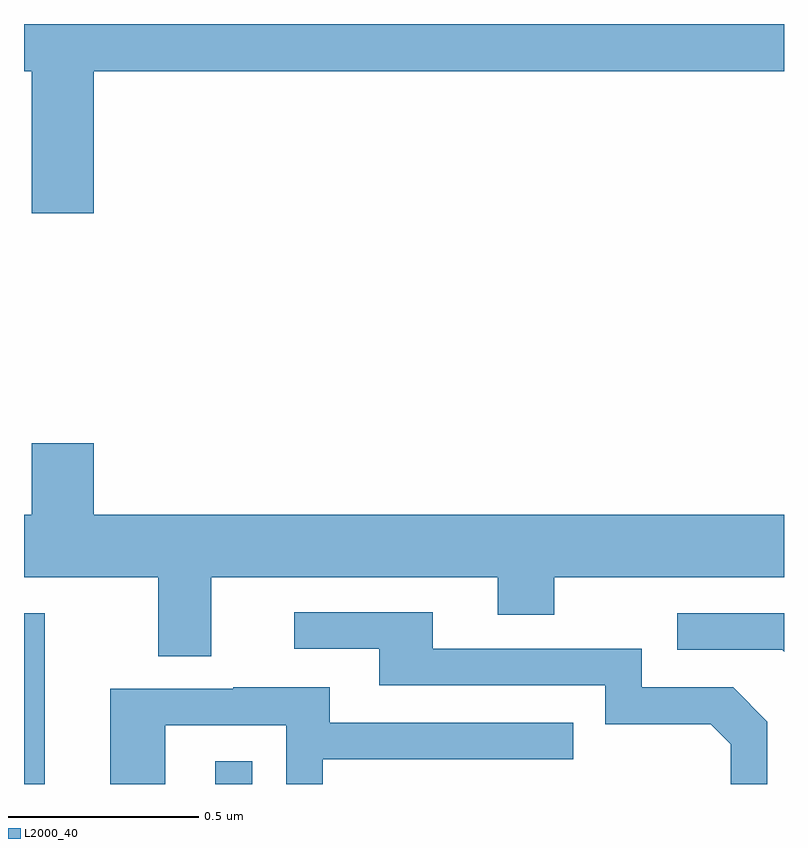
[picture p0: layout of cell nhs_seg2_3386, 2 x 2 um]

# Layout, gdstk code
import gdstk
lib = gdstk.Library(unit=1e-6, precision=1e-09)
def R(c, l, rs):  # rectangles x0, y0, x1, y1
    for r in rs: c.add(gdstk.rectangle(r[:2], r[2:], *l))
def P(c, l, *ps):  # polygons
    for p in ps: c.add(gdstk.Polygon(p, *l))
L2000_40 = (2000, 40)

nhs_seg2_3386 = lib.new_cell('nhs_seg2_3386')
R(nhs_seg2_3386, L2000_40, [(153,605.8,153.055,606.249), (153.503,605.8,153.6,605.86)])
P(nhs_seg2_3386, L2000_40, [(153.184,607.676),(155,607.676),(155,607.8),(153,607.8),(153,607.676),(153.02,607.676),(153.02,607.302),(153.184,607.302)],
  [(153.493,606.344),(154.247,606.344),(154.247,606.245),(154.395,606.245),(154.395,606.344),(155,606.344),(155,606.508),(153.184,606.508),(153.184,606.697),(153.02,606.697),(153.02,606.508),(153,606.508),(153,606.344),(153.353,606.344),(153.353,606.136),(153.493,606.136)],
  [(154.956,605.964),(154.866,606.054),(154.626,606.054),(154.626,606.156),(154.075,606.156),(154.075,606.252),(153.711,606.252),(153.711,606.156),(153.935,606.156),(153.935,606.06),(154.53,606.06),(154.53,605.957),(154.807,605.957),(154.86,605.904),(154.86,605.8),(154.956,605.8)],
  [(155,606.249),(154.719,606.249),(154.719,606.153),(154.995,606.153),(155,606.148)],
  [(153.372,605.955),(153.69,605.955),(153.69,605.8),(153.786,605.8),(153.786,605.865),(154.445,605.865),(154.445,605.961),(153.805,605.961),(153.805,606.055),(153.551,606.055),(153.551,606.051),(153.227,606.051),(153.227,605.8),(153.372,605.8)])

lib.write_gds('nhs_seg2_3386.gds')
